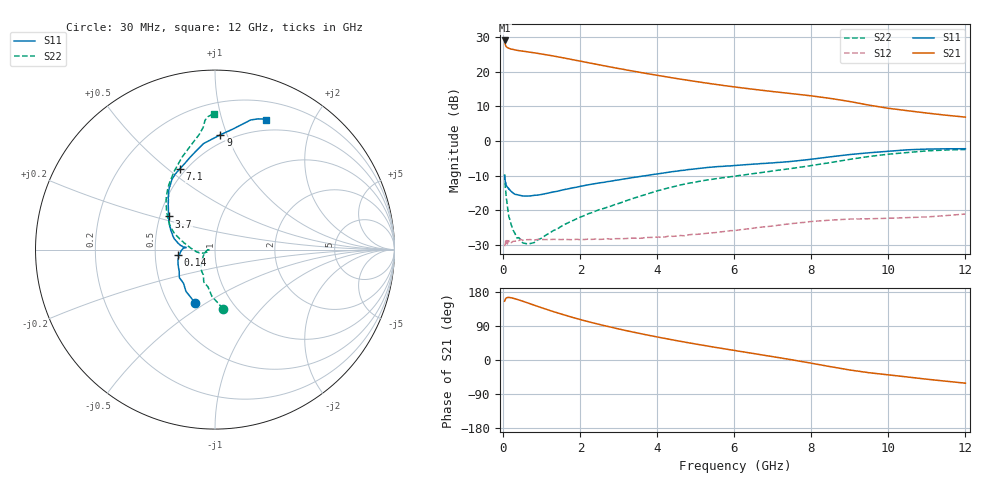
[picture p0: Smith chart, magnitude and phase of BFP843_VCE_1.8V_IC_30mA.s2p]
! Infineon Technologies  Discrete & RF Semiconductors
! BFP843
! VCE =  1.8 V,  IC =  30 mA
! Common Emitter S-Parameters:  Aug 2013
# GHz  S  MA  R  50
!  f  S11  S21  S12  S22
! GHz  MAG  ANG  MAG  ANG  MAG  ANG  MAG  ANG
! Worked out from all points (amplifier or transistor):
!   103 points, 30 MHz to 12 GHz, reference 50 ohm
!   highest |S21| = 29.0 dB at 30 MHz (marker M1)
!   |S21| within 3 dB of that: start of sweep to 450.2 MHz
!   unconditionally stable (mu >= 1): 95.21 MHz to 10.64 GHz
!   at 400 MHz: K = 1.03, MAG = 26.3 dB, |S12| = -28.7 dB
!   at 3.7 GHz: K = 1.35, MAG = 20.1 dB, |S12| = -27.8 dB
!   at 12 GHz: K = 0.85, MSG = 14.0 dB, |S12| = -21.0 dB
!   S11 on the Smith chart (normalised r, x): 30 MHz: 0.68, -0.45; 140 MHz: 0.66, -0.04; 3.7 GHz: 0.56, +0.23; 7.1 GHz: 0.46, +0.55; 9 GHz: 0.44, +0.95; 12 GHz: 0.38, +1.39
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0.03  0.3173 -110.3  28.21 155.3  0.0306 27.0  0.3329 -82.2
0.04  0.2834 -124.8  25.77 157.6  0.0319 18.3  0.2606 -93.8
0.05  0.2568 -133.1  24.5 160.8  0.0333 20.5  0.2112 -100.7
0.07  0.2333 -148.7  23.02 163.2  0.0345 14.0  0.1554 -114.7
0.1  0.2168 -161.8  22.28 164.8  0.0328 14.7  0.118 -131.1
0.14  0.2079 -171.1  21.77 165.1  0.0357 11.9  0.0807 -145.3
0.3  0.1711 176.5  20.61 161.6  0.0361 6.3  0.0465 -172.9
0.8  0.1653 176.3  18.71 144.6  0.0374 3.2  0.0345 -169.5
1.2  0.18 174.9  17.2 130.9  0.0381 3.4  0.0474 -162.5
1.6  0.2011 171.5  15.68 118.3  0.0383 4.2  0.0633 -162.0
2.1  0.2285 166.1  13.83 103.9  0.0382 5.3  0.0845 -168.0
2.5  0.25 161.1  12.53 93.7  0.0383 6.1  0.1035 -173.3
2.9  0.2714 155.8  11.37 84.1  0.0392 7.0  0.1222 -179.7
3.7  0.3176 144.4  9.466 66.7  0.0409 10.1  0.1701 168.5
4.1  0.3428 139.2  8.671 58.7  0.0413 9.2  0.1984 163.9
5  0.3993 130.4  7.224 42.1  0.0452 12.5  0.2577 156.0
6.1  0.4485 123.1  5.94 23.5  0.0524 14.0  0.3177 146.0
7.1  0.4914 113.6  5.101 7.1  0.0609 11.3  0.3785 136.1
8.5  0.5941 96.2  4.116 -17.7  0.0727 2.5  0.4911 117.7
9  0.6406 87.3  3.717 -26.4  0.0752 -1.5  0.5462 109.7
10.5  0.7493 74.6  2.74 -44.9  0.079 -9.0  0.6847 95.5
12  0.7762 68.7  2.217 -61.2  0.0889 -16.0  0.7574 90.4
